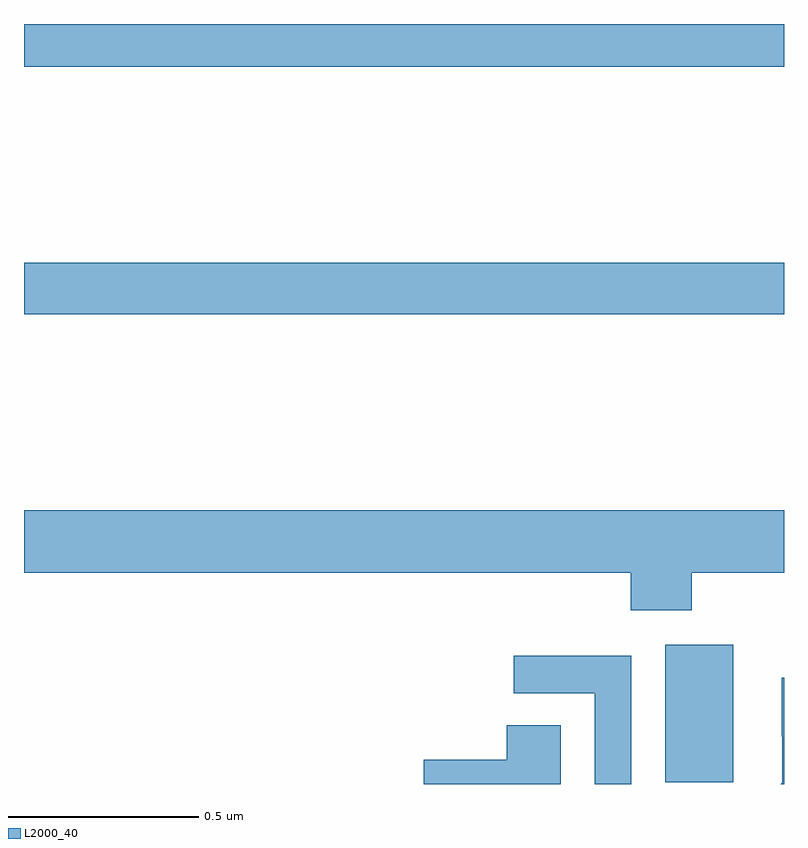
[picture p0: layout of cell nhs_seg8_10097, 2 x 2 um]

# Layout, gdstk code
import gdstk
lib = gdstk.Library(unit=1e-6, precision=1e-09)
def R(c, l, rs):  # rectangles x0, y0, x1, y1
    for r in rs: c.add(gdstk.rectangle(r[:2], r[2:], *l))
def P(c, l, *ps):  # polygons
    for p in ps: c.add(gdstk.Polygon(p, *l))
L2000_40 = (2000, 40)

nhs_seg8_10097 = lib.new_cell('nhs_seg8_10097')
R(nhs_seg8_10097, L2000_40, [(245.687,1159.905,245.866,1160.266), (244,1161.136,246,1161.272), (244,1161.788,246,1161.9)])
P(nhs_seg8_10097, L2000_40, [(245.757,1160.456),(246,1160.456),(246,1160.62),(244,1160.62),(244,1160.456),(245.597,1160.456),(245.597,1160.357),(245.757,1160.357)],
  [(245.598,1160.238),(245.289,1160.238),(245.289,1160.139),(245.502,1160.139),(245.502,1159.9),(245.598,1159.9)],
  [(246,1160.18),(245.994,1160.18),(245.994,1160.026),(245.996,1160.026),(245.996,1159.904),(245.992,1159.9),(246,1159.9)],
  [(245.413,1160.054),(245.27,1160.054),(245.27,1159.964),(245.052,1159.964),(245.052,1159.9),(245.413,1159.9)])

lib.write_gds('nhs_seg8_10097.gds')
